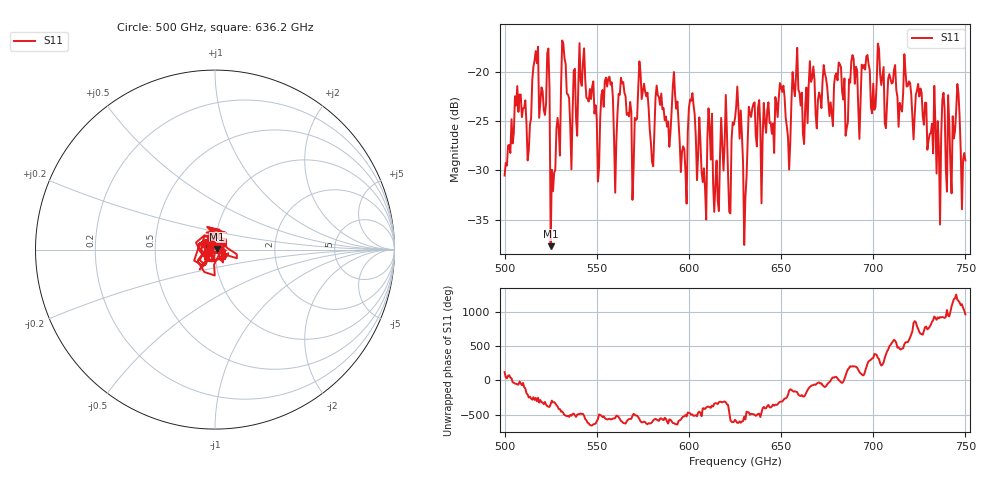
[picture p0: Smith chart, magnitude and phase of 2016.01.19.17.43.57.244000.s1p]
!Created with skrf (http://scikit-rf.org).
# GHz S RI R 50.0
!freq ReS11 ImS11
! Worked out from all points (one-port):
!   401 points, 500 GHz to 750 GHz, reference 50 ohm
!   lowest |S11| = -37.7 dB at 525 GHz (marker M1), VSWR 1.03, Z = 51.3 + j0.373 ohm
!   |S11| at or under -10 dB: start of sweep to end of sweep
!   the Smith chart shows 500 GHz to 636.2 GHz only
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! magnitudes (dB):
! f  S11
! 500 GHz  -30.5
! 506.9 GHz  -21.5
! 513.1 GHz  -28.0
! 516.9 GHz  -17.9
! 523.1 GHz  -18.1
! 525 GHz  -37.7
! 526.2 GHz  -32.1
! 531.2 GHz  -16.8
! 535.6 GHz  -25.5
! 541.9 GHz  -21.4
! 550.6 GHz  -31.1
! 562.5 GHz  -22.3
! 570.6 GHz  -24.7
! 574.4 GHz  -22.8
! 580 GHz  -29.1
! 593.8 GHz  -23.0
! 597.5 GHz  -27.8
! 601.9 GHz  -22.2
! 608.1 GHz  -29.8
! 611.2 GHz  -25.6
! 615 GHz  -29.0
! 625 GHz  -24.7
! 630.6 GHz  -32.8
! 633.8 GHz  -24.6
! 656.2 GHz  -20.0
! 687.5 GHz  -21.1
! 718.8 GHz  -21.4
! 750 GHz  -29.0
